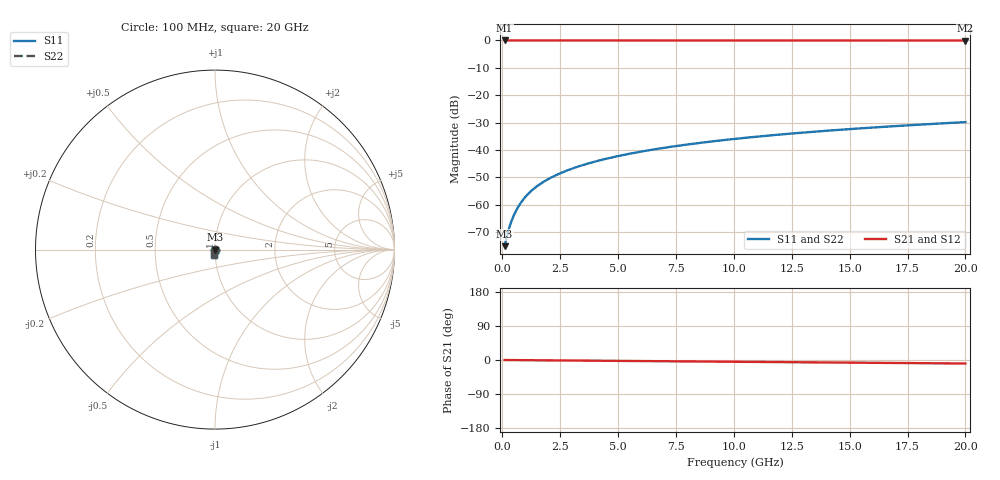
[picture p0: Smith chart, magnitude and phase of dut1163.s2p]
! Touchstone file exported from HFSS 2026.1.0
!  File:  C:/ffzhzh/LocalFiles/Ansys_Project_Files/temp_train_TSV_1163_1783191824_22436.aedt
!  Generated:  03:05:17 AM Jul  5, 2026
!  Design:  TSV
!  Project:  temp_train_TSV_1163_1783191824_22436
! Variables:
!  h_bsmrdl = 2um
!  h_ox = 20um
!  h_rdl = 5um
!  h_sub = 95.86um
!  h_tmrdl = 5um
!  h_tsv = 95.86um
!  h_via = 3um
!  l_bsmrdl = 300um
!  l_sub = 421.4um
!  l_tmrdl = 200um
!  m_sub = 200um
!  pitch = 35.74um
!  r_tsv = 10.7um
!  s_tmrdl = 10um
!  w_bsmrdl = 18um
!  w_sub = 500um
!  w_tmrdl = 12um
!  x_tsv_center1 = 206um
!  x_tsv_center2 = 524um
!  x_tsv_center3 = 736um
!  x_tsv_center4 = 1054um
!  x_tsv_center5 = 1266um
!  x_tsv_center6 = 1584um
# GHz S MA R 50.000000
! Terminal data exported
! Port[1] = TSV1_1_T1
! Port[2] = TSV1_1_T2
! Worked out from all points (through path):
!   200 points, 100 MHz to 20 GHz, reference 50 ohm
!   highest |S21| = 0.00 dB at 100 MHz (marker M1); lowest = 0.0 dB at 20 GHz (marker M2)
!   group delay of S21, straight-line fit = 1.28 ps
!   lowest |S11| = -75.2 dB at 100 MHz (marker M3), VSWR 1.00, Z = 50 - j0.0107 ohm
!   |S11| at or under -10 dB: start of sweep to end of sweep
!   |S22| runs from -75.2 to -29.8 dB; largest |S21 - S12| = 2.2e-15
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0.1  0.0001746 -37.9  0.9999 -0.0  0.9999 -0.0  0.0001746 -37.9
! Gamma 0 0 0 0
! Port Impedance 50 0 50 0
0.2  0.0002671 -54.8  0.9998 -0.1  0.9998 -0.1  0.0002671 -54.8
0.3  0.0003805 -62.2  0.9998 -0.1  0.9998 -0.1  0.0003805 -62.2
0.4  0.0005065 -66.1  0.9998 -0.2  0.9998 -0.2  0.0005065 -66.1
0.5  0.0006418 -68.5  0.9998 -0.2  0.9998 -0.2  0.0006418 -68.5
0.6  0.0007841 -70.4  0.9997 -0.3  0.9997 -0.3  0.0007841 -70.4
0.8  0.001082 -73.1  0.9997 -0.4  0.9997 -0.4  0.001082 -73.1
1.1  0.001546 -76.1  0.9996 -0.5  0.9996 -0.5  0.001546 -76.1
1.3  0.001859 -77.7  0.9996 -0.6  0.9996 -0.6  0.001859 -77.7
1.5  0.002173 -78.9  0.9996 -0.7  0.9996 -0.7  0.002173 -78.9
1.8  0.002644 -80.4  0.9995 -0.8  0.9995 -0.8  0.002644 -80.4
2.1  0.003115 -81.6  0.9995 -1.0  0.9995 -1.0  0.003115 -81.6
2.7  0.004059 -83.3  0.9994 -1.3  0.9994 -1.3  0.004059 -83.3
3.5  0.005324 -84.8  0.9993 -1.6  0.9993 -1.6  0.005324 -84.8
4.2  0.006439 -85.8  0.9993 -2.0  0.9993 -2.0  0.006439 -85.8
5  0.007721 -86.7  0.9992 -2.3  0.9992 -2.3  0.007721 -86.7
6.8  0.01063 -88.3  0.999 -3.2  0.999 -3.2  0.01063 -88.3
8.3  0.01307 -89.5  0.9989 -3.9  0.9989 -3.9  0.01307 -89.5
10.1  0.01601 -90.8  0.9988 -4.7  0.9988 -4.7  0.01601 -90.8
13.4  0.02141 -92.9  0.9985 -6.2  0.9985 -6.2  0.02141 -92.9
16.7  0.02682 -94.7  0.9982 -7.7  0.9982 -7.7  0.02682 -94.7
20  0.03223 -96.5  0.9979 -9.2  0.9979 -9.2  0.03223 -96.5
